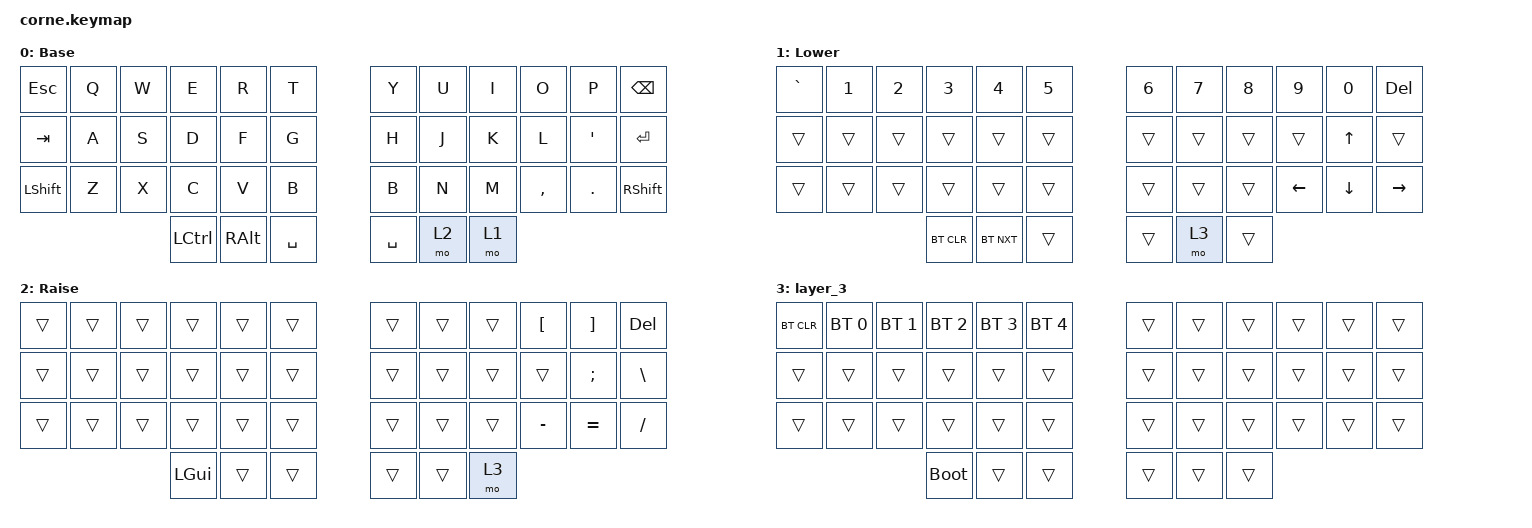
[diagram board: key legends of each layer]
/*
 * Copyright (c) 2020 The ZMK Contributors
 *
 * SPDX-License-Identifier: MIT
 */

#include <behaviors.dtsi>
#include <dt-bindings/zmk/bt.h>
#include <dt-bindings/zmk/keys.h>

/ {
    keymap {
        compatible = "zmk,keymap";

        default_layer {
            // -----------------------------------------------------------------------------------------
            // |  TAB |  Q  |  W  |  E  |  R  |  T  |   |  Y  |  U   |  I  |  O  |  P  | BKSP |
            // | CTRL |  A  |  S  |  D  |  F  |  G  |   |  H  |  J   |  K  |  L  |  ;  |  '   |
            // | SHFT |  Z  |  X  |  C  |  V  |  B  |   |  N  |  M   |  ,  |  .  |  /  | ESC  |
            //                    | GUI | LWR | SPC |   | ENT | RSE  | ALT |

            display-name = "Base";
            bindings = <
&kp ESCAPE  &kp Q  &kp W  &kp E             &kp R          &kp T        &kp Y      &kp U  &kp I  &kp O      &kp P             &kp BACKSPACE
&kp TAB     &kp A  &kp S  &kp D             &kp F          &kp G        &kp H      &kp J  &kp K  &kp L      &kp SINGLE_QUOTE  &kp ENTER
&kp LSHFT   &kp Z  &kp X  &kp C             &kp V          &kp B        &kp B      &kp N  &kp M  &kp COMMA  &kp PERIOD        &kp RIGHT_SHIFT
                          &kp LEFT_CONTROL  &kp RIGHT_ALT  &kp SPACE    &kp SPACE  &mo 2  &mo 1
            >;
        };

        lower_layer {
            // -----------------------------------------------------------------------------------------
            // |  TAB |  1  |  2  |  3  |  4  |  5  |   |  6  |  7  |  8  |  9  |  0  | BKSP |
            // | BTCLR| BT1 | BT2 | BT3 | BT4 | BT5 |   | LFT | DWN |  UP | RGT |     |      |
            // | SHFT |     |     |     |     |     |   |     |     |     |     |     |      |
            //                    | GUI |     | SPC |   | ENT |     | ALT |

            display-name = "Lower";
            bindings = <
&kp GRAVE  &kp N1  &kp N2  &kp N3      &kp N4      &kp N5    &kp N6  &kp N7  &kp N8  &kp N9          &kp N0          &kp DELETE
&trans     &trans  &trans  &trans      &trans      &trans    &trans  &trans  &trans  &trans          &kp UP_ARROW    &trans
&trans     &trans  &trans  &trans      &trans      &trans    &trans  &trans  &trans  &kp LEFT_ARROW  &kp DOWN_ARROW  &kp RIGHT_ARROW
                           &bt BT_CLR  &bt BT_NXT  &trans    &trans  &mo 3   &trans
            >;
        };

        raise_layer {
            // -----------------------------------------------------------------------------------------
            // |  TAB |  !  |  @  |  #  |  $  |  %  |   |  ^  |  &  |  *  |  (  |  )  | BKSP |
            // | CTRL |     |     |     |     |     |   |  -  |  =  |  [  |  ]  |  \  |  `   |
            // | SHFT |     |     |     |     |     |   |  _  |  +  |  {  |  }  | "|" |  ~   |
            //                    | GUI |     | SPC |   | ENT |     | ALT |

            display-name = "Raise";
            bindings = <
&trans  &trans  &trans  &trans    &trans  &trans    &trans  &trans  &trans  &kp LEFT_BRACKET  &kp RIGHT_BRACKET  &kp DELETE
&trans  &trans  &trans  &trans    &trans  &trans    &trans  &trans  &trans  &trans            &kp SEMI           &kp BACKSLASH
&trans  &trans  &trans  &trans    &trans  &trans    &trans  &trans  &trans  &kp MINUS         &kp EQUAL          &kp SLASH
                        &kp LGUI  &trans  &trans    &trans  &trans  &mo 3
            >;
        };

        layer_3 {
            bindings = <
&bt BT_CLR  &bt BT_SEL 0  &bt BT_SEL 1  &bt BT_SEL 2  &bt BT_SEL 3  &bt BT_SEL 4    &trans  &trans  &trans  &trans  &trans  &trans
&trans      &trans        &trans        &trans        &trans        &trans          &trans  &trans  &trans  &trans  &trans  &trans
&trans      &trans        &trans        &trans        &trans        &trans          &trans  &trans  &trans  &trans  &trans  &trans
                                        &bootloader   &trans        &trans          &trans  &trans  &trans
            >;
        };
    };
};
